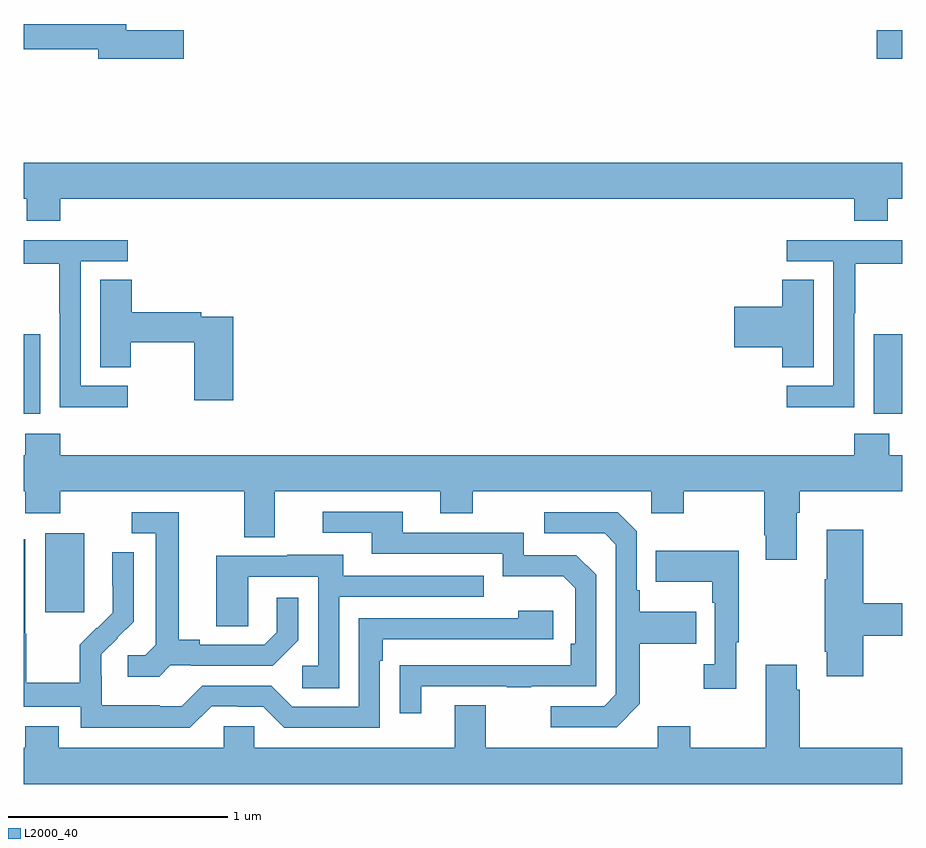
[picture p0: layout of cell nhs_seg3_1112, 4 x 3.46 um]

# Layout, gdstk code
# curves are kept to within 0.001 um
import gdstk
lib = gdstk.Library(unit=1e-6, precision=1e-09)
def R(c, l, rs):  # rectangles x0, y0, x1, y1
    for r in rs: c.add(gdstk.rectangle(r[:2], r[2:], *l))
def P(c, l, *ps):  # polygons
    for p in ps: c.add(gdstk.Polygon(p, *l))
L2000_40 = (2000, 40)

nhs_seg3_1112 = lib.new_cell('nhs_seg3_1112')
R(nhs_seg3_1112, L2000_40, [(169.097,685.713,169.276,686.074), (169,686.618,169.075,686.979), (172.871,686.618,173,686.979), (172.884,688.234,173,688.363)])
P(nhs_seg3_1112, L2000_40, [(169.729,688.363),(169.468,688.363),(169.468,688.392),(169,688.392),(169,688.276),(169.34,688.276),(169.34,688.234),(169.729,688.234)],
  [(169.166,687.596),(172.781,687.596),(172.781,687.497),(172.933,687.497),(172.933,687.596),(173,687.596),(173,687.76),(169,687.76),(169,687.596),(169.013,687.596),(169.013,687.497),(169.166,687.497)],
  [(172.782,687.076),(172.785,687.076),(172.785,687.3),(173,687.3),(173,687.408),(172.473,687.408),(172.473,687.312),(172.686,687.312),(172.686,686.745),(172.473,686.745),(172.473,686.647),(172.782,686.647)],
  [(169.474,686.745),(169.26,686.745),(169.26,687.312),(169.474,687.312),(169.474,687.408),(169,687.408),(169,687.3),(169.162,687.3),(169.162,687.076),(169.164,687.076),(169.164,686.647),(169.474,686.647)],
  [(169.955,687.06),(169.808,687.06),(169.808,687.08),(169.493,687.08),(169.493,687.227),(169.349,687.227),(169.349,686.83),(169.488,686.83),(169.488,686.944),(169.777,686.944),(169.777,686.679),(169.955,686.679)],
  [(172.597,687.227),(172.454,687.227),(172.454,687.104),(172.236,687.104),(172.236,686.921),(172.454,686.921),(172.454,686.83),(172.597,686.83)],
  [(172.519,686.168),(172.532,686.168),(172.532,686.264),(173,686.264),(173,686.428),(172.941,686.428),(172.941,686.527),(172.781,686.527),(172.781,686.428),(169.166,686.428),(169.166,686.527),(169.006,686.527),(169.006,686.428),(169,686.428),(169,686.264),(169.007,686.264),(169.007,686.165),(169.167,686.165),(169.167,686.264),(170.003,686.264),(170.003,686.056),(170.143,686.056),(170.143,686.264),(170.897,686.264),(170.897,686.165),(171.045,686.165),(171.045,686.264),(171.858,686.264),(171.858,686.165),(172.005,686.165),(172.005,686.264),(172.372,686.264),(172.372,686.065),(172.379,686.065),(172.379,685.953),(172.519,685.953)],
  [(170.809,685.377),(171.199,685.377),(171.199,685.372),(171.311,685.372),(171.311,685.377),(171.606,685.377),(171.606,685.884),(171.516,685.974),(171.276,685.974),(171.276,686.076),(170.725,686.076),(170.725,686.172),(170.361,686.172),(170.361,686.076),(170.585,686.076),(170.585,685.98),(171.18,685.98),(171.18,685.877),(171.457,685.877),(171.51,685.824),(171.51,685.57),(171.49,685.57),(171.49,685.473),(170.713,685.472),(170.713,685.254),(170.809,685.254)],
  [(171.805,685.297),(171.805,685.57),(172.061,685.57),(172.061,685.717),(171.805,685.717),(171.805,685.813),(171.792,685.813),(171.792,686.082),(171.705,686.169),(171.369,686.169),(171.369,686.073),(171.645,686.073),(171.696,686.022),(171.696,685.341),(171.642,685.287),(171.399,685.287),(171.399,685.191),(171.699,685.191)],
  [(169.668,685.473),(169.762,685.473),(169.762,685.47),(170.134,685.47),(170.25,685.586),(170.25,685.78),(170.153,685.78),(170.153,685.623),(170.096,685.566),(169.801,685.566),(169.801,685.589),(169.705,685.589),(169.705,686.169),(169.491,686.169),(169.491,686.073),(169.601,686.073),(169.601,685.565),(169.554,685.518),(169.473,685.518),(169.473,685.421),(169.616,685.421)],
  [(172.823,685.607),(173,685.607),(173,685.754),(172.823,685.754),(172.823,686.089),(172.655,686.089),(172.655,685.865),(172.648,685.865),(172.648,685.534),(172.655,685.534),(172.655,685.422),(172.823,685.422)],
  [(169.857,685.287),(169.973,685.287),(169.973,685.284),(170.091,685.284),(170.187,685.188),(170.622,685.188),(170.622,685.493),(170.635,685.493),(170.635,685.59),(171.412,685.59),(171.412,685.72),(171.251,685.72),(171.251,685.686),(170.526,685.686),(170.526,685.284),(170.223,685.284),(170.127,685.38),(169.812,685.38),(169.719,685.287),(169.619,685.287),(169.619,685.291),(169.356,685.291),(169.356,685.425),(169.354,685.425),(169.354,685.522),(169.5,685.67),(169.5,685.988),(169.404,685.988),(169.404,685.834),(169.406,685.834),(169.406,685.712),(169.335,685.641),(169.332,685.644),(169.255,685.567),(169.255,685.393),(169.011,685.393),(169.011,685.616),(169.008,685.616),(169.008,686.046),(169,686.046),(169,685.284),(169.26,685.284),(169.26,685.187),(169.757,685.187)],
  [(172.243,685.577),(172.255,685.577),(172.255,685.993),(171.877,685.993),(171.877,685.853),(172.134,685.853),(172.134,685.757),(172.146,685.757),(172.146,685.478),(172.095,685.478),(172.095,685.365),(172.243,685.365)],
  [(170.436,685.785),(171.095,685.785),(171.095,685.881),(170.455,685.881),(170.455,685.975),(170.201,685.975),(170.201,685.971),(169.877,685.971),(169.877,685.651),(170.022,685.651),(170.022,685.875),(170.34,685.875),(170.34,685.47),(170.268,685.47),(170.268,685.369),(170.436,685.369)],
  [(173,685.096),(172.532,685.096),(172.532,685.361),(172.519,685.361),(172.519,685.474),(172.379,685.474),(172.379,685.096),(172.035,685.096),(172.035,685.195),(171.887,685.195),(171.887,685.096),(171.103,685.096),(171.103,685.291),(170.963,685.291),(170.963,685.096),(170.049,685.096),(170.049,685.194),(169.911,685.194),(169.911,685.096),(169.159,685.096),(169.159,685.195),(169.007,685.195),(169.007,685.096),(169,685.096),(169,684.932),(173,684.932)])

lib.write_gds('nhs_seg3_1112.gds')
